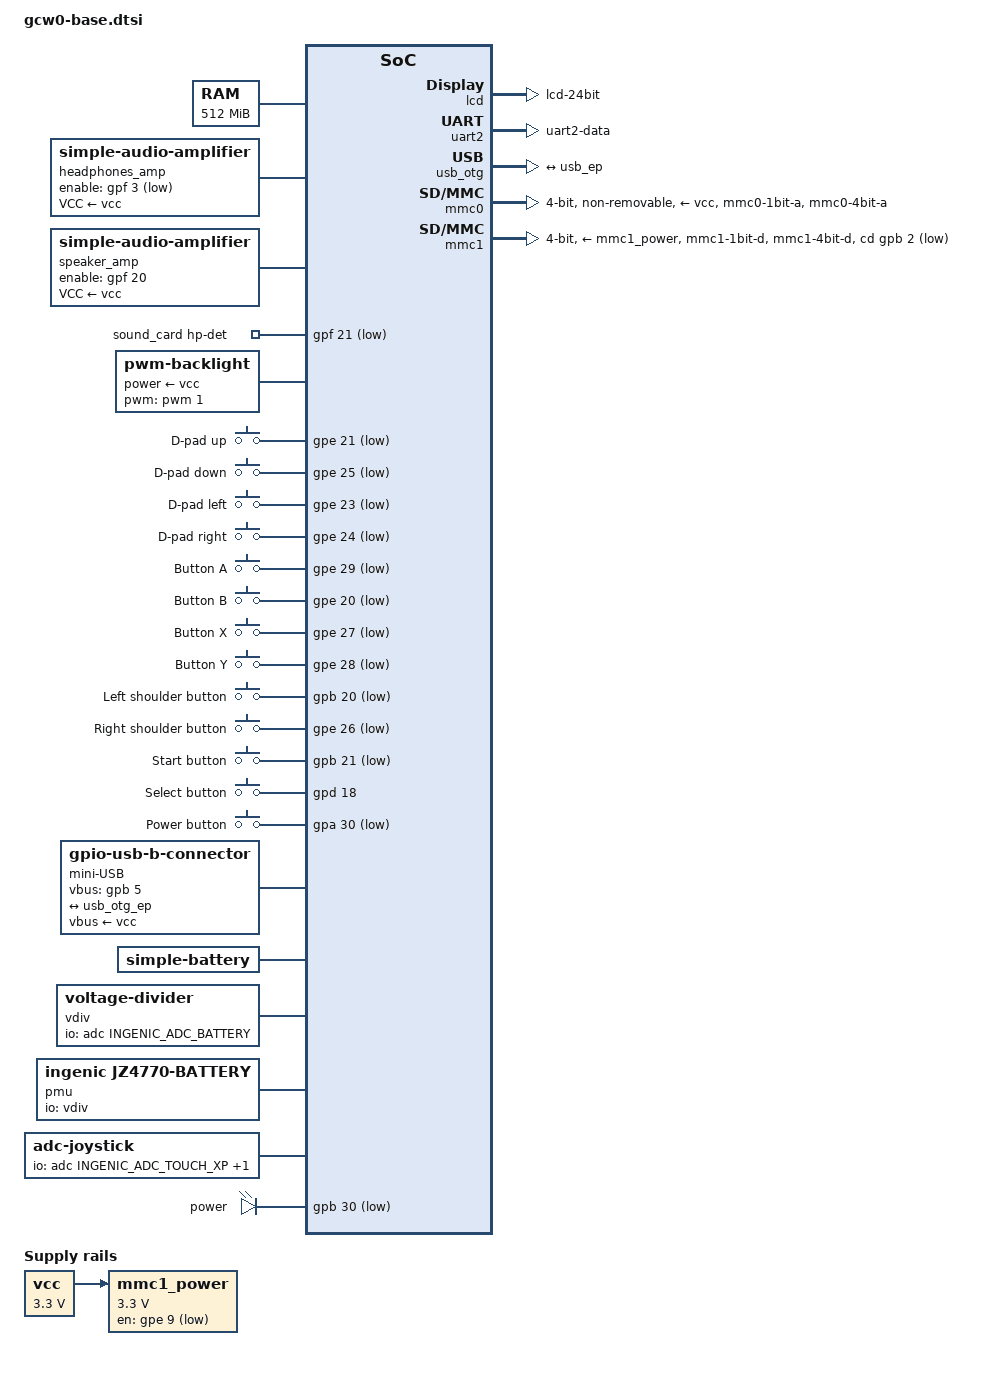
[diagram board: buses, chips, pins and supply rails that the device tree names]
// SPDX-License-Identifier: GPL-2.0

#include "../jz4770.dtsi"

#include <dt-bindings/clock/ingenic,tcu.h>
#include <dt-bindings/gpio/gpio.h>
#include <dt-bindings/iio/adc/ingenic,adc.h>
#include <dt-bindings/input/input.h>

/ {
	aliases {
		serial0 = &uart0;
		serial1 = &uart1;
		serial2 = &uart2;
		serial3 = &uart3;
	};

	memory: memory {
		device_type = "memory";
		reg = <0x0 0x10000000>,
		      <0x30000000 0x10000000>;
	};

	chosen {
		stdout-path = "serial2:57600n8";
	};

	vcc: regulator-0 {
		compatible = "regulator-fixed";
		regulator-name = "vcc";

		regulator-min-microvolt = <3300000>;
		regulator-max-microvolt = <3300000>;
		regulator-always-on;
	};

	mmc1_power: regulator-1 {
		compatible = "regulator-fixed";
		regulator-name = "mmc1_vcc";
		gpio = <&gpe 9 0>;

		regulator-min-microvolt = <3300000>;
		regulator-max-microvolt = <3300000>;
		vin-supply = <&vcc>;
	};

	headphones_amp: analog-amplifier-0 {
		compatible = "simple-audio-amplifier";
		enable-gpios = <&gpf 3 GPIO_ACTIVE_LOW>;
		enable-delay-ms = <50>;

		VCC-supply = <&vcc>;
		sound-name-prefix = "Headphones Amp";
	};

	speaker_amp: analog-amplifier-1 {
		compatible = "simple-audio-amplifier";
		enable-gpios = <&gpf 20 GPIO_ACTIVE_HIGH>;

		VCC-supply = <&vcc>;
		sound-name-prefix = "Speaker Amp";
	};

	sound_card: sound {
		compatible = "simple-audio-card";

		simple-audio-card,name = "gcw0-audio";
		simple-audio-card,format = "i2s";

		simple-audio-card,hp-det-gpio = <&gpf 21 GPIO_ACTIVE_LOW>;
		simple-audio-card,aux-devs = <&speaker_amp>, <&headphones_amp>;

		simple-audio-card,bitclock-master = <&dai_codec>;
		simple-audio-card,frame-master = <&dai_codec>;

		dai_cpu: simple-audio-card,cpu {
			sound-dai = <&aic>;
		};

		dai_codec: simple-audio-card,codec {
			sound-dai = <&codec>;
		};
	};

	backlight: backlight {
		compatible = "pwm-backlight";
		pwms = <&pwm 1 40000 0>;
		power-supply = <&vcc>;

		brightness-levels = <0 4 8 9 10 12 16 32 64 96 128 192 255>;
		default-brightness-level = <8>;

		pinctrl-names = "init", "default";
		pinctrl-0 = <&pins_pwm1_sleep>;
		pinctrl-1 = <&pins_pwm1>;
	};

	gpio_keys: gpio-keys {
		compatible = "gpio-keys";
		autorepeat;

		button-0 {
			label = "D-pad up";
			linux,code = <KEY_UP>;
			linux,can-disable;
			gpios = <&gpe 21 GPIO_ACTIVE_LOW>;
		};

		button-1 {
			label = "D-pad down";
			linux,code = <KEY_DOWN>;
			linux,can-disable;
			gpios = <&gpe 25 GPIO_ACTIVE_LOW>;
		};

		button-2 {
			label = "D-pad left";
			linux,code = <KEY_LEFT>;
			linux,can-disable;
			gpios = <&gpe 23 GPIO_ACTIVE_LOW>;
		};

		button-3 {
			label = "D-pad right";
			linux,code = <KEY_RIGHT>;
			linux,can-disable;
			gpios = <&gpe 24 GPIO_ACTIVE_LOW>;
		};

		button-4 {
			label = "Button A";
			linux,code = <KEY_LEFTCTRL>;
			linux,can-disable;
			gpios = <&gpe 29 GPIO_ACTIVE_LOW>;
		};

		button-5 {
			label = "Button B";
			linux,code = <KEY_LEFTALT>;
			linux,can-disable;
			gpios = <&gpe 20 GPIO_ACTIVE_LOW>;
		};

		btn6: button-6 {
			label = "Button X";
			linux,code = <KEY_SPACE>;
			linux,can-disable;
			gpios = <&gpe 27 GPIO_ACTIVE_LOW>;
		};

		btn7: button-7 {
			label = "Button Y";
			linux,code = <KEY_LEFTSHIFT>;
			linux,can-disable;
			gpios = <&gpe 28 GPIO_ACTIVE_LOW>;
		};

		btn8: button-8 {
			label = "Left shoulder button";
			linux,code = <KEY_TAB>;
			linux,can-disable;
			gpios = <&gpb 20 GPIO_ACTIVE_LOW>;
		};

		btn9: button-9 {
			label = "Right shoulder button";
			linux,code = <KEY_BACKSPACE>;
			linux,can-disable;
			gpios = <&gpe 26 GPIO_ACTIVE_LOW>;
		};

		button-10 {
			label = "Start button";
			linux,code = <KEY_ENTER>;
			linux,can-disable;
			gpios = <&gpb 21 GPIO_ACTIVE_LOW>;
		};

		button-11 {
			label = "Select button";
			linux,code = <KEY_ESC>;
			linux,can-disable;
			/*
			 * This is the only button that is active high,
			 * since it doubles as BOOT_SEL1.
			 */
			gpios = <&gpd 18 GPIO_ACTIVE_HIGH>;
		};

		btn12: button-12 {
			label = "Power button";
			linux,code = <KEY_POWER>;
			linux,can-disable;
			gpios = <&gpa 30 GPIO_ACTIVE_LOW>;
			wakeup-source;
		};
	};

	/*
	 * SPI-over-GPIO, using the pins of the SSI0 controller.
	 * This is useful for the devices that require 3-wire communication,
	 * as the SSI controller in Ingenic SoCs does not support it.
	 */
	spi0_gpio: spi {
		compatible = "spi-gpio";
		#address-cells = <1>;
		#size-cells = <0>;
		status = "disabled";

		sck-gpios = <&gpe 15 GPIO_ACTIVE_HIGH>;
		mosi-gpios = <&gpe 17 GPIO_ACTIVE_HIGH>;
		cs-gpios = <&gpe 16 GPIO_ACTIVE_HIGH>;
		num-chipselects = <1>;
	};

	usb_conn: connector {
		compatible = "gpio-usb-b-connector", "usb-b-connector";
		label = "mini-USB";
		type = "mini";

		/*
		 * USB OTG is not yet working reliably, the ID detection
		 * mechanism tends to fry easily for unknown reasons.
		 * Until this is fixed, disable OTG by not providing the
		 * ID GPIO to the driver.
		 */
		//id-gpios = <&gpf 18 GPIO_ACTIVE_LOW>;

		vbus-gpios = <&gpb 5 GPIO_ACTIVE_HIGH>;
		vbus-supply = <&vcc>;

		pinctrl-names = "default";
		pinctrl-0 = <&pins_otg>;

		port {
			usb_ep: endpoint {
				remote-endpoint = <&usb_otg_ep>;
			};
		};
	};

	battery: battery {
		compatible = "simple-battery";
		voltage-min-design-microvolt = <3400000>;
		voltage-max-design-microvolt = <4200000>;
	};

	vdiv: voltage-divider {
		compatible = "voltage-divider";
		#io-channel-cells = <0>;

		output-ohms = <332000>;
		full-ohms = <1332000>;

		io-channels = <&adc INGENIC_ADC_BATTERY>;
	};

	pmu: pmu {
		compatible = "ingenic,jz4770-battery", "ingenic,jz4740-battery";
		io-channels = <&vdiv>;
		io-channel-names = "battery";
		monitored-battery = <&battery>;

		power-supplies = <&usb_conn>;
	};

	joystick: joystick {
		compatible = "adc-joystick";
		io-channels = <&adc INGENIC_ADC_TOUCH_XP>,
			      <&adc INGENIC_ADC_TOUCH_YP>;
		#address-cells = <1>;
		#size-cells = <0>;

		js_axis0: axis@0 {
			reg = <0>;
			linux,code = <ABS_X>;
			abs-fuzz = <4>;
			abs-flat = <200>;
		};

		js_axis1: axis@1 {
			reg = <1>;
			linux,code = <ABS_Y>;
			abs-fuzz = <4>;
			abs-flat = <200>;
		};
	};

	leds: leds {
		compatible = "gpio-leds";

		power_led: led {
			label = "power";
			gpios = <&gpb 30 GPIO_ACTIVE_LOW>;
			default-state = "on";
			panic-indicator;
			retain-state-suspended;
		};
	};

	cpu_opp_table: opp-table {
		compatible = "operating-points-v2";

		opp-444000000 { opp-hz = /bits/ 64 <444000000>; };
		opp-492000000 { opp-hz = /bits/ 64 <492000000>; };
		opp-600000000 { opp-hz = /bits/ 64 <600000000>; };
		opp-696000000 { opp-hz = /bits/ 64 <696000000>; };
		opp-792000000 { opp-hz = /bits/ 64 <792000000>; };
		opp-900000000 { opp-hz = /bits/ 64 <900000000>; };
		opp-996000000 { opp-hz = /bits/ 64 <996000000>; };
		opp-1092000000 { opp-hz = /bits/ 64 <1092000000>; };
		opp-1200000000 { opp-hz = /bits/ 64 <1200000000>; };
	};
};

&ext {
	clock-frequency = <12000000>;
};

&cpu0 {
	operating-points-v2 = <&cpu_opp_table>;

	/* We use the main PLL as the CPU clock for the cpufreq driver. */
	clocks = <&cgu JZ4770_CLK_PLL0>;
};

&pinctrl {
	pins_lcd: lcd {
		function = "lcd";
		groups = "lcd-24bit";
	};

	pins_uart2: uart2 {
		function = "uart2";
		groups = "uart2-data";
	};

	pins_mmc0: mmc0 {
		function = "mmc0";
		groups = "mmc0-1bit-a", "mmc0-4bit-a";
	};

	pins_mmc1: mmc1 {
		function = "mmc1";
		groups = "mmc1-1bit-d", "mmc1-4bit-d";
	};

	pins_otg: otg {
		otg-vbus-pin {
			function = "otg";
			groups = "otg-vbus";
		};

		vbus-pin {
			pins = "PB5";
			bias-disable;
		};
	};

	pwm1 {
		pins_pwm1_sleep: pwm1-sleep {
			pins = "PE1";
			output-low;
		};

		pins_pwm1: pwm1-default {
			function = "pwm1";
			groups = "pwm1";
		};
	};
};

&lcd {
	pinctrl-names = "default";
	pinctrl-0 = <&pins_lcd>;
};

&uart2 {
	pinctrl-names = "default";
	pinctrl-0 = <&pins_uart2>;

	status = "okay";
};

&cgu {
	/*
	 * Put high-speed peripherals under PLL1, such that we can change the
	 * PLL0 frequency on demand without having to suspend peripherals.
	 * We use a rate of 432 MHz, which is the least common multiple of
	 * 27 MHz (required by TV encoder) and 48 MHz (required by USB host).
	 * Put the GPU under PLL0 since we want a higher frequency.
	 * Use the 32 kHz oscillator as the parent of the RTC for a higher
	 * precision.
	 */
	assigned-clocks =
		<&cgu JZ4770_CLK_PLL1>,
		<&cgu JZ4770_CLK_GPU>,
		<&cgu JZ4770_CLK_RTC>,
		<&cgu JZ4770_CLK_UHC>,
		<&cgu JZ4770_CLK_LPCLK_MUX>,
		<&cgu JZ4770_CLK_MMC0_MUX>,
		<&cgu JZ4770_CLK_MMC1_MUX>;
	assigned-clock-parents =
		<0>,
		<&cgu JZ4770_CLK_PLL0>,
		<&cgu JZ4770_CLK_OSC32K>,
		<&cgu JZ4770_CLK_PLL1>,
		<&cgu JZ4770_CLK_PLL1>,
		<&cgu JZ4770_CLK_PLL1>,
		<&cgu JZ4770_CLK_PLL1>;
	assigned-clock-rates =
		<432000000>,
		<600000000>;
};

&tcu {
	/*
	 * 750 kHz for the system timer and clocksource, 12 MHz for the OST,
	 * and use RTC as the parent for the watchdog clock
	 */
	assigned-clocks = <&tcu TCU_CLK_TIMER0>, <&tcu TCU_CLK_TIMER2>,
			  <&tcu TCU_CLK_OST>, <&tcu TCU_CLK_WDT>;
	assigned-clock-parents = <0>, <0>, <0>, <&cgu JZ4770_CLK_RTC>;
	assigned-clock-rates = <750000>, <750000>, <12000000>;

	/* PWM1 is in use, so use channel #2 for the clocksource */
	ingenic,pwm-channels-mask = <0xfa>;
};

&usb_otg {
	port {
		usb_otg_ep: endpoint {
			remote-endpoint = <&usb_ep>;
		};
	};
};

&otg_phy {
	vcc-supply = <&vcc>;
};

&rtc {
	clocks = <&cgu JZ4770_CLK_RTC>;
	clock-names = "rtc";

	system-power-controller;
};

&mmc0 {
	status = "okay";

	bus-width = <4>;
	max-frequency = <50000000>;
	vmmc-supply = <&vcc>;
	non-removable;

	pinctrl-names = "default";
	pinctrl-0 = <&pins_mmc0>;
};

&mmc1 {
	status = "okay";

	bus-width = <4>;
	max-frequency = <50000000>;
	cd-gpios = <&gpb 2 GPIO_ACTIVE_LOW>;
	vmmc-supply = <&mmc1_power>;

	pinctrl-names = "default";
	pinctrl-0 = <&pins_mmc1>;
};
